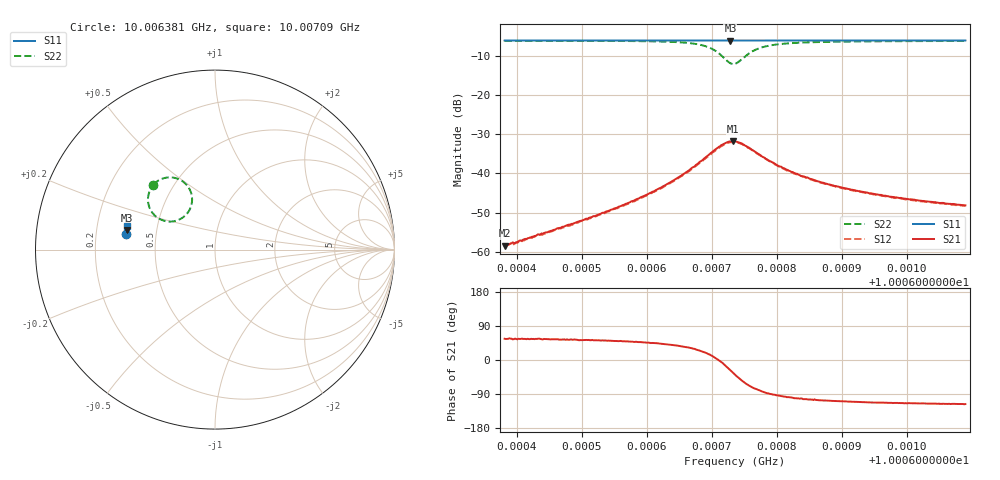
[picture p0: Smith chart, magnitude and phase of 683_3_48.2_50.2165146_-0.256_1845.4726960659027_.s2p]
#  HZ  S  RI  R  50.00
! Rohde & Schwarz Vector Network Analyzer
! Rohde-Schwarz,ZNB20-2Port,1311601062101988,3.16
! Created: UTC 3/20/2024, 12:06:44 PM
! freq[Hz]  re:S11  im:S11  re:S21  im:S21  re:S12  im:S12  re:S22  im:S22
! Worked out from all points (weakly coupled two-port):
!   401 points, 10.006381 GHz to 10.00709 GHz, reference 50 ohm
!   highest |S21| = -31.72 dB at 10.006732 GHz (marker M1); lowest = -58.5 dB at 10.006381 GHz (marker M2)
!   lowest |S11| = -6.0 dB at 10.006729 GHz (marker M3), VSWR 3.02, Z = 16.7 + j4.77 ohm
!   |S11| at or under -10 dB: nowhere
!   |S22| runs from -12.0 to -6.0 dB; largest |S21 - S12| = 0.002
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1.00063812e10  -0.497 0.0848  0.000664 0.000989  0.000589 0.00102  -0.3445 0.3626
1.00063989e10  -0.4968 0.0859  0.000745 0.00109  0.000667 0.00111  -0.3428 0.3643
1.00065e10  -0.4956 0.0928  0.00152 0.00197  0.0014 0.00205  -0.329 0.3757
1.0006562e10  -0.495 0.0967  0.00254 0.00297  0.00232 0.00303  -0.3144 0.3855
1.00066187e10  -0.4942 0.1007  0.00464 0.00444  0.00432 0.00457  -0.2886 0.3967
1.0006656e10  -0.4934 0.1033  0.00795 0.00565  0.00752 0.00589  -0.2533 0.4024
1.00066897e10  -0.4922 0.1054  0.0149 0.00534  0.0142 0.006  -0.188 0.3852
1.00067021e10  -0.4916 0.1062  0.0191 0.00309  0.0183 0.00397  -0.1543 0.3561
1.00067145e10  -0.4911 0.1065  0.0229 -0.00212  0.0223 -0.000864  -0.1293 0.2998
1.00067216e10  -0.4907 0.1065  0.0238 -0.00662  0.0236 -0.00511  -0.1296 0.2561
1.00067287e10  -0.4906 0.1065  0.0229 -0.0117  0.023 -0.0101  -0.1476 0.2117
1.00067322e10  -0.4906 0.1064  0.0218 -0.0141  0.0221 -0.0124  -0.1631 0.1925
1.00067357e10  -0.4907 0.1064  0.0202 -0.0161  0.0206 -0.0144  -0.1822 0.1768
1.00067464e10  -0.4913 0.1067  0.0141 -0.0196  0.0151 -0.0184  -0.2465 0.1561
1.00067588e10  -0.4916 0.1073  0.00757 -0.0196  0.00863 -0.0188  -0.3075 0.1701
1.00067801e10  -0.4921 0.1087  0.00142 -0.016  0.00256 -0.0157  -0.3572 0.2179
1.0006812e10  -0.4922 0.1111  -0.00138 -0.0115  -0.000718 -0.0113  -0.3732 0.2693
1.00068368e10  -0.4919 0.113  -0.00188 -0.00915  -0.00136 -0.00923  -0.3727 0.2927
1.00068545e10  -0.4917 0.1144  -0.00205 -0.00816  -0.00168 -0.00809  -0.3709 0.3045
1.00069059e10  -0.4911 0.1178  -0.00213 -0.00606  -0.00178 -0.0061  -0.3643 0.3262
1.00069733e10  -0.4902 0.1221  -0.00197 -0.00466  -0.00172 -0.00469  -0.3563 0.3422
1.00070903e10  -0.4885 0.1296  -0.00173 -0.0035  -0.00154 -0.00351  -0.3457 0.3581
